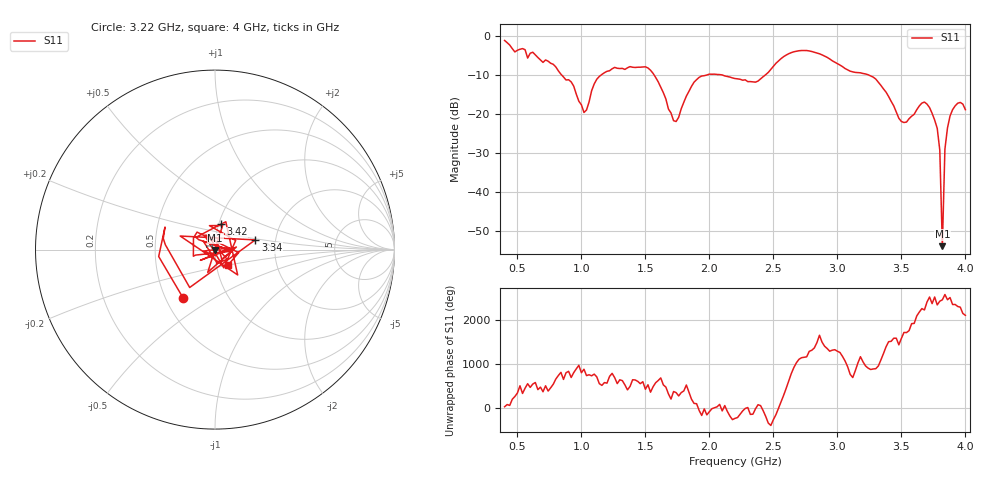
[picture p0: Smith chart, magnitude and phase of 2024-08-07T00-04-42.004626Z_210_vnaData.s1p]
!Created with skrf (http://scikit-rf.org).
# Hz S RI R 50.0
!freq ReS11 ImS11
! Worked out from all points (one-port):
!   181 points, 400 MHz to 4 GHz, reference 50 ohm
!   lowest |S11| = -54.0 dB at 3.82 GHz (marker M1), VSWR 1.00, Z = 50.1 - j0.168 ohm
!   |S11| at or under -10 dB: 1.567 GHz to 1.986 GHz (418.8 MHz wide, 23.6 % of centre); 2.09 GHz to 2.439 GHz (349.6 MHz wide, 15.4 % of centre); 3.24 GHz to end of sweep (the widest 3 of 4)
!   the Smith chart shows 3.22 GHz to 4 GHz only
!   S11 on the Smith chart (normalised r, x): 3.22 GHz: 0.61, -0.37; 3.34 GHz: 1.57, +0.18; 3.42 GHz: 1.02, +0.29; 4 GHz: 1.14, -0.20
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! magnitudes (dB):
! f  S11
! 400 MHz  -1.2
! 860 MHz  -10.6
! 940 MHz  -12.9
! 1.02 GHz  -19.7
! 1.12 GHz  -11.2
! 1.3 GHz  -8.4
! 1.52 GHz  -8.3
! 1.6 GHz  -11.8
! 1.72 GHz  -21.8
! 1.76 GHz  -20.9
! 1.92 GHz  -10.7
! 2.2 GHz  -11.0
! 2.38 GHz  -11.6
! 2.66 GHz  -4.1
! 3.1 GHz  -9.1
! 3.22 GHz  -9.8
! 3.34 GHz  -12.7
! 3.42 GHz  -16.8
! 3.5 GHz  -22.0
! 3.56 GHz  -21.3
! 3.68 GHz  -17.0
! 3.78 GHz  -23.8
! 3.8 GHz  -29.4
! 3.82 GHz  -54.0
! 3.84 GHz  -29.1
! 3.86 GHz  -23.7
! 3.94 GHz  -17.3
! 4 GHz  -19.0
